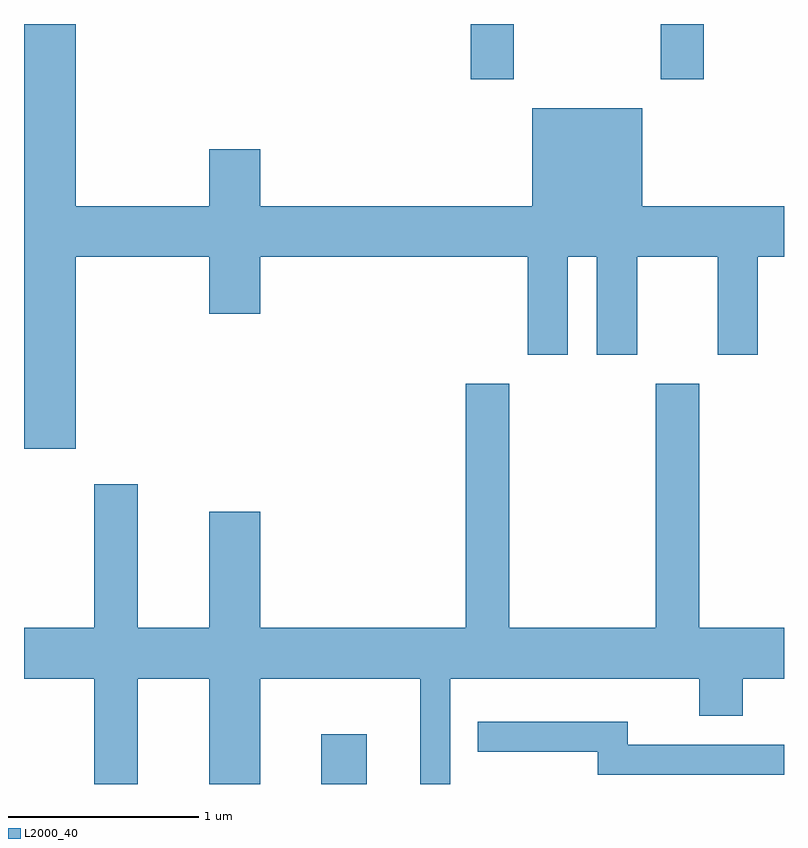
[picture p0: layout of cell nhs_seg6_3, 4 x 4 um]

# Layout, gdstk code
import gdstk
lib = gdstk.Library(unit=1e-6, precision=1e-09)
def R(c, l, rs):  # rectangles x0, y0, x1, y1
    for r in rs: c.add(gdstk.rectangle(r[:2], r[2:], *l))
def P(c, l, *ps):  # polygons
    for p in ps: c.add(gdstk.Polygon(p, *l))
L2000_40 = (2000, 40)

nhs_seg6_3 = lib.new_cell('nhs_seg6_3')
R(nhs_seg6_3, L2000_40, [(187.176,1536.162,187.414,1536.424), (187.961,1539.871,188.189,1540.162), (188.961,1539.871,189.189,1540.162)])
P(nhs_seg6_3, L2000_40, [(185.884,1538.936),(186.586,1538.936),(186.586,1538.636),(186.854,1538.636),(186.854,1538.936),(188.261,1538.936),(188.261,1538.421),(188.474,1538.421),(188.474,1538.936),(188.626,1538.936),(188.626,1538.421),(188.839,1538.421),(188.839,1538.936),(189.261,1538.936),(189.261,1538.421),(189.474,1538.421),(189.474,1538.936),(189.611,1538.936),(189.611,1539.204),(188.864,1539.204),(188.864,1539.719),(188.286,1539.719),(188.286,1539.204),(186.854,1539.204),(186.854,1539.504),(186.586,1539.504),(186.586,1539.204),(185.884,1539.204),(185.884,1540.162),(185.611,1540.162),(185.611,1537.926),(185.884,1537.926)],
  [(186.209,1536.716),(186.586,1536.716),(186.586,1536.162),(186.854,1536.162),(186.854,1536.716),(187.696,1536.716),(187.696,1536.162),(187.854,1536.162),(187.854,1536.716),(189.166,1536.716),(189.166,1536.521),(189.394,1536.521),(189.394,1536.716),(189.611,1536.716),(189.611,1536.984),(189.164,1536.984),(189.164,1538.269),(188.936,1538.269),(188.936,1536.984),(188.164,1536.984),(188.164,1538.269),(187.936,1538.269),(187.936,1536.984),(186.854,1536.984),(186.854,1537.594),(186.586,1537.594),(186.586,1536.984),(186.209,1536.984),(186.209,1537.739),(185.981,1537.739),(185.981,1536.984),(185.611,1536.984),(185.611,1536.716),(185.981,1536.716),(185.981,1536.162),(186.209,1536.162)],
  [(189.611,1536.369),(188.789,1536.369),(188.789,1536.489),(187.998,1536.489),(187.998,1536.331),(188.631,1536.331),(188.631,1536.211),(189.611,1536.211)])

lib.write_gds('nhs_seg6_3.gds')
